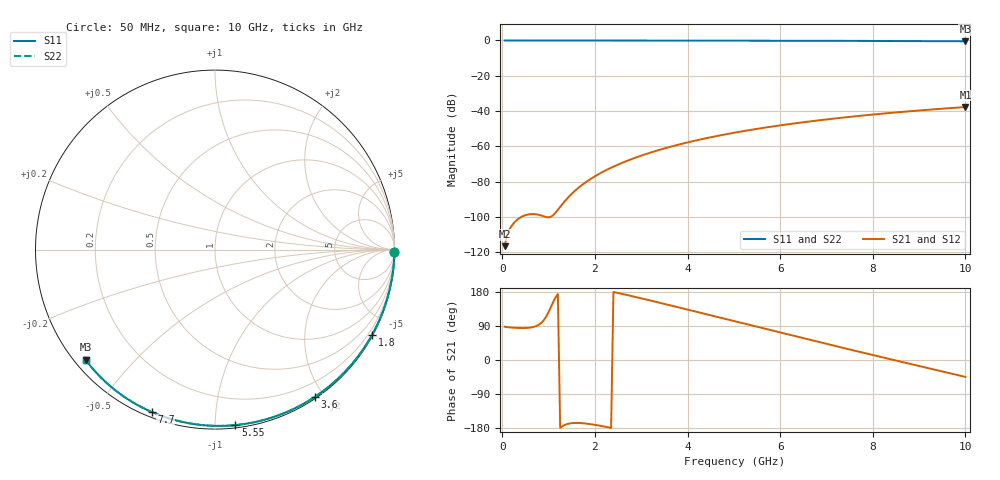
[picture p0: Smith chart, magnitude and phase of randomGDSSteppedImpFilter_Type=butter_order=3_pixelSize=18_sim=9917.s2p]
! freq	dB(S11)	phase(S11)	dB(S12)	phase(S12)
!  dB(S21)	phase(S21)	dB(S22)	phase(S22)
!S-par simulation data
#  GHz  S  DB  R 50
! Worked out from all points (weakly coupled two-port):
!   200 points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, 50 MHz to 10 GHz, reference 50 ohm
!   highest |S21| = -37.75 dB at 10 GHz (marker M1); lowest = -116.6 dB at 50 MHz (marker M2)
!   lowest |S11| = -0.5 dB at 10 GHz (marker M3), VSWR 36.71, Z = 1.55 - j18.4 ohm
!   |S11| at or under -10 dB: nowhere
!   |S22| runs from -0.5 to 0.0 dB; largest |S21 - S12| = 0
!   S11 on the Smith chart (normalised r, x): 50 MHz: open; 1.8 GHz: 0.03, -3.92; 3.6 GHz: 0.02, -1.88; 5.55 GHz: 0.02, -1.12; 7.7 GHz: 0.02, -0.68; 10 GHz: 0.03, -0.37
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0.05  -0.00 -0.8  -116.61 87.9  -116.61 87.9  -0.00 -0.8
0.45  -0.01 -7.3  -99.54 84.3  -99.54 84.3  -0.01 -7.3
0.9  -0.02 -14.5  -99.74 105.5  -99.74 105.5  -0.02 -14.5
1.75  -0.04 -27.9  -81.34 -167.0  -81.34 -167.0  -0.04 -27.9
1.8  -0.04 -28.6  -80.39 -167.6  -80.39 -167.6  -0.04 -28.6
1.85  -0.04 -29.4  -79.49 -168.3  -79.49 -168.3  -0.04 -29.4
2.05  -0.04 -32.5  -76.22 -172.1  -76.22 -172.1  -0.04 -32.5
2.2  -0.04 -34.8  -74.08 -175.5  -74.08 -175.5  -0.04 -34.8
2.55  -0.05 -40.2  -69.78 175.5  -69.78 175.5  -0.05 -40.2
2.95  -0.06 -46.3  -65.74 164.2  -65.74 164.2  -0.06 -46.3
3.4  -0.07 -53.0  -61.95 151.0  -61.95 151.0  -0.07 -53.0
3.6  -0.08 -55.9  -60.47 145.0  -60.47 145.0  -0.08 -55.9
3.9  -0.08 -60.3  -58.43 136.0  -58.43 136.0  -0.08 -60.3
4.3  -0.09 -66.0  -55.99 123.9  -55.99 123.9  -0.09 -66.0
5.05  -0.12 -76.6  -52.10 101.1  -52.10 101.1  -0.12 -76.6
5.55  -0.14 -83.4  -49.90 86.0  -49.90 86.0  -0.14 -83.4
6.1  -0.16 -90.8  -47.76 69.4  -47.76 69.4  -0.16 -90.8
6.7  -0.19 -98.6  -45.70 51.4  -45.70 51.4  -0.19 -98.6
7.7  -0.25 -111.3  -42.77 21.9  -42.77 21.9  -0.25 -111.3
8.35  -0.31 -119.4  -41.14 3.0  -41.14 3.0  -0.31 -119.4
9.2  -0.38 -129.9  -39.27 -21.6  -39.27 -21.6  -0.38 -129.9
10  -0.47 -139.6  -37.75 -44.6  -37.75 -44.6  -0.47 -139.6
